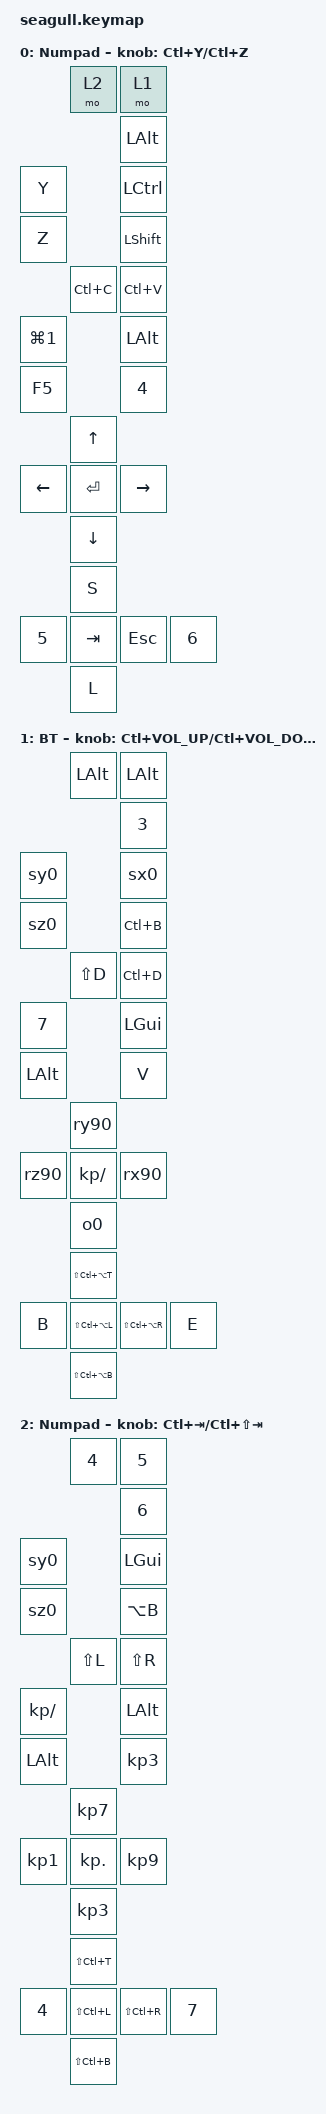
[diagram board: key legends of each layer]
#include <../boards/shields/kyria/boards/nice_nano.overlay>
#include <behaviors.dtsi>
#include <dt-bindings/zmk/keys.h>

#define NUMPAD 0
#define BLUETOOTH 1

/ {
    macros {
        sz0: sz0 {
            compatible = "zmk,behavior-macro";
            #binding-cells = <0>;
            bindings = <&none &kp S &kp Z &kp N0 &kp RET>;
            label = "SZ0";
        };

        sx0: sx0 {
            compatible = "zmk,behavior-macro";
            #binding-cells = <0>;
            bindings = <&none &kp S &kp X &kp N0 &kp RET>;
            label = "SX0";
        };

        sy0: sy0 {
            compatible = "zmk,behavior-macro";
            #binding-cells = <0>;
            bindings = <&none &kp S &kp Y &kp N0 &kp RET>;
            label = "SY0";
        };

        o0: o0 {
            compatible = "zmk,behavior-macro";
            #binding-cells = <0>;
            bindings = <&none &kp N0 &kp RET>;
            label = "O0";
        };

        rz90: rz90 {
            compatible = "zmk,behavior-macro";
            #binding-cells = <0>;
            bindings = <&none &kp R &kp Z &kp N9 &kp N0 &kp RET>;
            label = "RZ90";
        };

        rx90: rx90 {
            compatible = "zmk,behavior-macro";
            #binding-cells = <0>;
            bindings = <&none &kp R &kp X &kp N9 &kp N0 &kp RET>;
            label = "RX90";
        };

        ry90: ry90 {
            compatible = "zmk,behavior-macro";
            #binding-cells = <0>;
            bindings = <&none &kp R &kp Y &kp N9 &kp N0 &kp RET>;
            label = "RY90";
        };

        mum: mum {
            compatible = "zmk,behavior-macro";
            #binding-cells = <0>;
            bindings = <&none &kp>, <&macro_press>, <&kp FSLH>;

            label = "MUM";
        };

        taskmanager: taskmanager {
            compatible = "zmk,behavior-macro";
            #binding-cells = <0>;
            bindings = <&none>, <&macro_press>, <&kp LC(LA(DELETE))>;

            label = "TASKMANAGER";
        };

        w: w {
            compatible = "zmk,behavior-macro";
            #binding-cells = <0>;
            bindings = <&none>;
            label = "W";
        };
    };

    keymap {
        compatible = "zmk,keymap";

        layer_0 {
            display-name = "Numpad";

            // +---------------------------+                      
            // |   7  |   8  |   9  |   *  |                      
            // +------+------+------+------+
            // |   4  |   5  |   6  |   /  |                      
            // +------+------+------+------+-------+     
            // |   1  |   2  |   3  |   *  | L-BT  |                     
            // +------+------+------+------+-------+    
            // |   0  |   .  |  +   |   =  |                          
            // +------+------+------+------+  

            bindings = <
                       &mo 2      &mo 1
                                  &kp LALT

&kp Y                             &kp LCTRL
&kp Z                             &kp LSHFT
            &kp LC(C)  &kp LC(V)
&kp LG(N1)                        &kp LALT
&kp F5                            &kp N4

            &kp UP
&kp LEFT    &kp RET    &kp RIGHT
            &kp DOWN

                       &kp S
&kp N5      &kp TAB               &kp ESC    &kp N6
                       &kp L
            >;

            sensor-bindings = <&inc_dec_kp LC(Y) LC(Z)>;
        };

        layer_bluetooth {
            display-name = "BT";

            // +---------------------------+                      
            // |CLEAR |      |      |BTLDR |                      
            // +------+------+------+------+
            // |      |      |      |      |                      
            // +------+------+------+------+-------+     
            // | PF1  | PF2  |  PF3 |      | L-BT  |                      
            // +------+------+------+------+-------+    
            // |      |      |      |      |                          
            // +------+------+------+------+     

            bindings = <
                             &kp LALT           &kp LALT
                                                &kp N3

&sy0                                            &sx0
&sz0                                            &kp LC(B)
          &kp LS(D)          &kp LC(D)
&kp N7                                          &kp LGUI
&kp LALT                                        &kp V

          &ry90
&rz90     &kp KP_DIVIDE      &rx90
          &o0

                             &kp LS(LC(LA(T)))
&kp B     &kp LS(LC(LA(L)))                     &kp LS(LC(LA(R)))  &kp E
                             &kp LS(LC(LA(B)))
            >;

            sensor-bindings = <&inc_dec_kp LC(C_VOLUME_UP) LC(C_VOLUME_DOWN)>;
        };

        layer_2 {
            display-name = "Numpad";
            bindings = <
                                  &kp N4           &kp N5
                                                   &kp N6

&sy0                                               &kp LGUI
&sz0                                               &kp LA(B)
                 &kp LS(L)        &kp LS(R)
&kp KP_DIVIDE                                      &kp LALT
&kp LALT                                           &kp KP_N3

                 &kp KP_NUMBER_7
&kp KP_NUMBER_1  &kp KP_DOT       &kp KP_NUMBER_9
                 &kp KP_NUMBER_3

                                  &kp LS(LC(T))
&kp N4           &kp LS(LC(L))                     &kp LS(LC(R))  &kp N7
                                  &kp LS(LC(B))
            >;

            sensor-bindings = <&inc_dec_kp LC(TAB) LC(LS(TAB))>;
        };
    };
};
